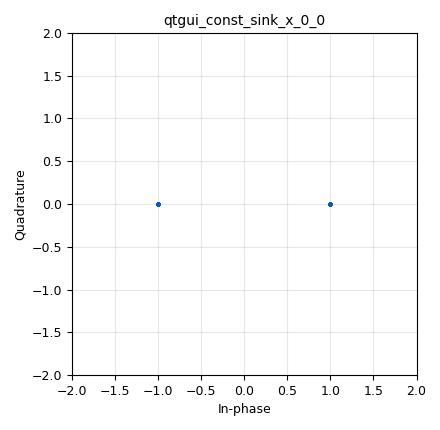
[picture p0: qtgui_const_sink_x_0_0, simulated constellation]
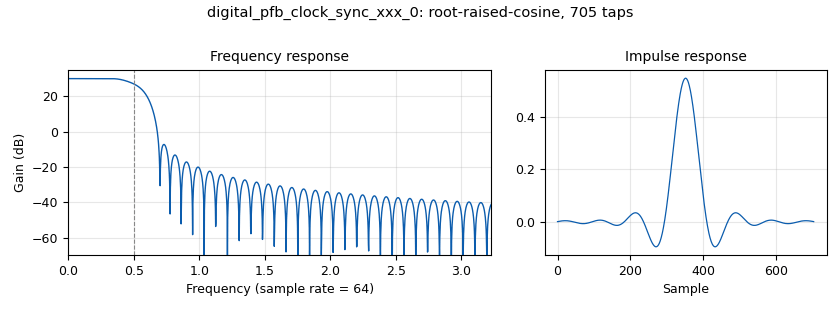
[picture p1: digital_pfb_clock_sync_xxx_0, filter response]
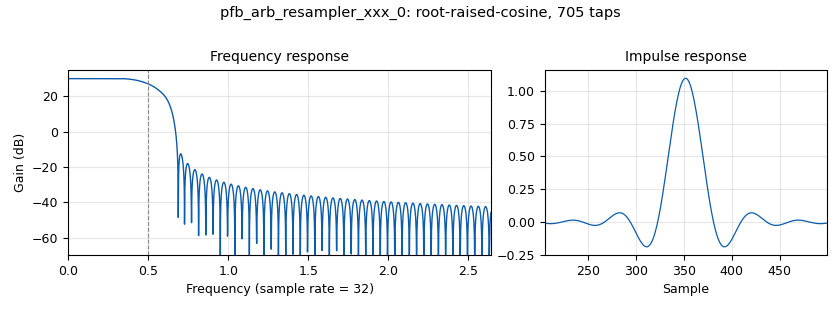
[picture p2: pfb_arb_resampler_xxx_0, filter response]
<?xml version='1.0' encoding='utf-8'?>
<?grc format='1' created='3.7.12'?>
<flow_graph>
<block>
<key>options</key>
<param><key>id</key><value>MPSK_TX_RX</value></param>
<param><key>author</key><value>Rafik Zitouni</value></param>
<param><key>generate_options</key><value>qt_gui</value></param>
<param><key>title</key><value>MPSK TX RX</value></param>
</block>
<block>
<key>variable_qtgui_label</key>
<param><key>id</key><value>BER</value></param>
<param><key>value</key><value>(1.0-probe_BER )/3.0</value></param>
<param><key>_enabled</key><value>0</value></param>
<param><key>gui_hint</key><value>5,1,1,1</value></param>
<param><key>type</key><value>real</value></param>
</block>
<block>
<key>variable_qtgui_label</key>
<param><key>id</key><value>Freq_Offset</value></param>
<param><key>value</key><value>probe_SNR</value></param>
<param><key>_enabled</key><value>0</value></param>
<param><key>gui_hint</key><value>5,1,1,1</value></param>
<param><key>type</key><value>real</value></param>
</block>
<block>
<key>variable_qtgui_label</key>
<param><key>id</key><value>SNR</value></param>
<param><key>value</key><value>probe_SNR</value></param>
<param><key>type</key><value>real</value></param>
</block>
<block>
<key>variable_qtgui_range</key>
<param><key>id</key><value>ampl</value></param>
<param><key>value</key><value>0.7</value></param>
<param><key>gui_hint</key><value>2,0,1,1</value></param>
<param><key>label</key><value>Amplitude</value></param>
<param><key>orient</key><value>Qt.Horizontal</value></param>
<param><key>start</key><value>0</value></param>
<param><key>step</key><value>0.01</value></param>
<param><key>stop</key><value>1</value></param>
</block>
<block>
<key>variable</key>
<param><key>id</key><value>arrity</value></param>
<param><key>value</key><value>pow(2, bits_per_symbol)</value></param>
</block>
<block>
<key>variable</key>
<param><key>id</key><value>arrity_0</value></param>
<param><key>value</key><value>pow(2,bits_per_symbol)</value></param>
</block>
<block>
<key>variable</key>
<param><key>id</key><value>bitrate</value></param>
<param><key>value</key><value>32e3</value></param>
</block>
<block>
<key>variable</key>
<param><key>id</key><value>bits_per_symbol</value></param>
<param><key>value</key><value>1</value></param>
</block>
<block>
<key>variable</key>
<param><key>id</key><value>const_type</value></param>
<param><key>value</key><value>0</value></param>
</block>
<block>
<key>variable</key>
<param><key>id</key><value>constellation</value></param>
<param><key>value</key><value>(digital.constellation_bpsk(), digital.constellation_qpsk(), digital.constellation_8psk())</value></param>
</block>
<block>
<key>variable</key>
<param><key>id</key><value>excess_bw</value></param>
<param><key>value</key><value>0.35</value></param>
</block>
<block>
<key>variable</key>
<param><key>id</key><value>excess_bw_0</value></param>
<param><key>value</key><value>0.35</value></param>
</block>
<block>
<key>variable</key>
<param><key>id</key><value>fll_ntaps</value></param>
<param><key>value</key><value>55</value></param>
</block>
<block>
<key>variable</key>
<param><key>id</key><value>freq_bw</value></param>
<param><key>value</key><value>2*math.pi/100.0</value></param>
</block>
<block>
<key>variable_qtgui_range</key>
<param><key>id</key><value>freq_rx</value></param>
<param><key>value</key><value>2390e6</value></param>
<param><key>gui_hint</key><value>0,1,1,1</value></param>
<param><key>label</key><value>UHD Rx Freq (Hz)</value></param>
<param><key>orient</key><value>Qt.Horizontal</value></param>
<param><key>start</key><value>2350e6</value></param>
<param><key>step</key><value>10e6</value></param>
<param><key>stop</key><value>2500e6</value></param>
</block>
<block>
<key>variable_qtgui_range</key>
<param><key>id</key><value>gain_rx</value></param>
<param><key>value</key><value>0.75</value></param>
<param><key>gui_hint</key><value>1,1,1,1</value></param>
<param><key>label</key><value>UHD Rx Gain</value></param>
<param><key>orient</key><value>Qt.Horizontal</value></param>
<param><key>start</key><value>0</value></param>
<param><key>step</key><value>0.01</value></param>
<param><key>stop</key><value>1</value></param>
</block>
<block>
<key>variable_qtgui_chooser</key>
<param><key>id</key><value>lo_offset</value></param>
<param><key>value</key><value>6e6</value></param>
<param><key>gui_hint</key><value>2,1,1,1</value></param>
<param><key>num_opts</key><value>3</value></param>
<param><key>option0</key><value>0</value></param>
<param><key>option1</key><value>6e6</value></param>
<param><key>option2</key><value>11e6</value></param>
<param><key>type</key><value>real</value></param>
</block>
<block>
<key>variable</key>
<param><key>id</key><value>nfilts</value></param>
<param><key>value</key><value>32</value></param>
</block>
<block>
<key>variable</key>
<param><key>id</key><value>nfilts_0</value></param>
<param><key>value</key><value>32</value></param>
</block>
<block>
<key>variable</key>
<param><key>id</key><value>ntaps</value></param>
<param><key>value</key><value>11 * int(samples_per_symbol*nfilts)</value></param>
</block>
<block>
<key>variable</key>
<param><key>id</key><value>ntaps_0</value></param>
<param><key>value</key><value>nfilts*11*int(samples_per_symbol)</value></param>
</block>
<block>
<key>variable</key>
<param><key>id</key><value>phase_bw</value></param>
<param><key>value</key><value>2*math.pi/100.0</value></param>
</block>
<block>
<key>variable</key>
<param><key>id</key><value>pre_diff_code</value></param>
<param><key>value</key><value>True</value></param>
</block>
<block>
<key>variable_function_probe</key>
<param><key>id</key><value>probe_BER</value></param>
<param><key>block_id</key><value>digital_probe_density_b_0</value></param>
<param><key>_enabled</key><value>0</value></param>
<param><key>function_name</key><value>density</value></param>
<param><key>value</key><value>0</value></param>
<param><key>poll_rate</key><value>10</value></param>
</block>
<block>
<key>variable_function_probe</key>
<param><key>id</key><value>probe_SNR</value></param>
<param><key>block_id</key><value>digital_probe_mpsk_snr_est_c_0</value></param>
<param><key>function_name</key><value>snr</value></param>
<param><key>value</key><value>0</value></param>
<param><key>poll_rate</key><value>10</value></param>
</block>
<block>
<key>variable_function_probe</key>
<param><key>id</key><value>probe_SNR_0</value></param>
<param><key>block_id</key><value>digital_probe_mpsk_snr_est_c_0</value></param>
<param><key>_enabled</key><value>0</value></param>
<param><key>function_name</key><value>snr</value></param>
<param><key>value</key><value>0</value></param>
<param><key>poll_rate</key><value>10</value></param>
</block>
<block>
<key>variable</key>
<param><key>id</key><value>samp_rate</value></param>
<param><key>value</key><value>samples_per_symbol*bitrate</value></param>
</block>
<block>
<key>variable</key>
<param><key>id</key><value>samples_per_symbol</value></param>
<param><key>value</key><value>2</value></param>
</block>
<block>
<key>variable</key>
<param><key>id</key><value>timing_bw</value></param>
<param><key>value</key><value>2*math.pi/100.0</value></param>
</block>
<block>
<key>variable_qtgui_range</key>
<param><key>id</key><value>tun_freq_tx</value></param>
<param><key>value</key><value>2.39e9</value></param>
<param><key>gui_hint</key><value>0,0,1,1</value></param>
<param><key>label</key><value>UHD Tx Freq (Hz)</value></param>
<param><key>orient</key><value>Qt.Horizontal</value></param>
<param><key>start</key><value>2.3e9</value></param>
<param><key>step</key><value>1</value></param>
<param><key>stop</key><value>2.5e9</value></param>
</block>
<block>
<key>variable_qtgui_range</key>
<param><key>id</key><value>tun_gain_tx</value></param>
<param><key>value</key><value>40</value></param>
<param><key>gui_hint</key><value>1,0,1,1</value></param>
<param><key>label</key><value>UHD Tx Gain</value></param>
<param><key>orient</key><value>Qt.Horizontal</value></param>
<param><key>start</key><value>0</value></param>
<param><key>step</key><value>1</value></param>
<param><key>stop</key><value>80</value></param>
</block>
<block>
<key>qtgui_number_sink</key>
<param><key>id</key><value>MeasureBER</value></param>
<param><key>graph_type</key><value>qtgui.NUM_GRAPH_HORIZ</value></param>
<param><key>type</key><value>float</value></param>
<param><key>color1</key><value>("blue", "red")</value></param>
<param><key>min</key><value>0</value></param>
<param><key>name</key><value>"BER"</value></param>
<param><key>update_time</key><value>0.05</value></param>
</block>
<block>
<key>parameter</key>
<param><key>id</key><value>address</value></param>
<param><key>label</key><value>IP Address</value></param>
<param><key>short_id</key><value>a</value></param>
<param><key>type</key><value>string</value></param>
<param><key>value</key><value>serial=30AD34D</value></param>
</block>
<block>
<key>analog_agc2_xx</key>
<param><key>id</key><value>analog_agc2_xx_0</value></param>
<param><key>attack_rate</key><value>0.6e-1</value></param>
<param><key>decay_rate</key><value>1e-3</value></param>
<param><key>gain</key><value>1.0</value></param>
<param><key>max_gain</key><value>65536</value></param>
<param><key>reference</key><value>1.0</value></param>
<param><key>type</key><value>complex</value></param>
</block>
<block>
<key>blks2_error_rate</key>
<param><key>id</key><value>blks2_error_rate_0</value></param>
<param><key>bits_per_symbol</key><value>1</value></param>
<param><key>type</key><value>'BER'</value></param>
<param><key>win_size</key><value>1000</value></param>
</block>
<block>
<key>blocks_multiply_const_vxx</key>
<param><key>id</key><value>blocks_multiply_const_vxx_0</value></param>
<param><key>const</key><value>ampl</value></param>
<param><key>type</key><value>complex</value></param>
</block>
<block>
<key>blocks_packed_to_unpacked_xx</key>
<param><key>id</key><value>blocks_packed_to_unpacked_xx_0</value></param>
<param><key>bits_per_chunk</key><value>1</value></param>
<param><key>endianness</key><value>gr.GR_MSB_FIRST</value></param>
<param><key>type</key><value>byte</value></param>
</block>
<block>
<key>blocks_unpack_k_bits_bb</key>
<param><key>id</key><value>blocks_unpack_k_bits_bb_0</value></param>
<param><key>k</key><value>bits_per_symbol</value></param>
</block>
<block>
<key>blocks_unpacked_to_packed_xx</key>
<param><key>id</key><value>blocks_unpacked_to_packed_xx_0</value></param>
<param><key>bits_per_chunk</key><value>1</value></param>
<param><key>endianness</key><value>gr.GR_MSB_FIRST</value></param>
<param><key>type</key><value>byte</value></param>
</block>
<block>
<key>blocks_vector_source_x</key>
<param><key>id</key><value>blocks_vector_source_x_0</value></param>
<param><key>type</key><value>byte</value></param>
<param><key>repeat</key><value>True</value></param>
<param><key>vector</key><value>[1,]</value></param>
</block>
<block>
<key>blocks_vector_source_x</key>
<param><key>id</key><value>blocks_vector_source_x_0_0</value></param>
<param><key>type</key><value>byte</value></param>
<param><key>repeat</key><value>True</value></param>
<param><key>vector</key><value>[1,]</value></param>
</block>
<block>
<key>digital_chunks_to_symbols_xx</key>
<param><key>id</key><value>digital_chunks_to_symbols_xx_0</value></param>
<param><key>dimension</key><value>1</value></param>
<param><key>in_type</key><value>byte</value></param>
<param><key>out_type</key><value>complex</value></param>
<param><key>symbol_table</key><value>constellation[const_type].points()</value></param>
</block>
<block>
<key>digital_constellation_receiver_cb</key>
<param><key>id</key><value>digital_constellation_receiver_cb_0</value></param>
<param><key>constellation</key><value>digital.bpsk_constellation().base()</value></param>
<param><key>loop_bw</key><value>phase_bw</value></param>
<param><key>fmax</key><value>0.25</value></param>
<param><key>fmin</key><value>0.25</value></param>
<param><key>showports</key><value>True</value></param>
</block>
<block>
<key>digital_costas_loop_cc</key>
<param><key>id</key><value>digital_costas_loop_cc_0</value></param>
<param><key>w</key><value>timing_bw</value></param>
<param><key>order</key><value>2</value></param>
</block>
<block>
<key>digital_descrambler_bb</key>
<param><key>id</key><value>digital_descrambler_bb_0</value></param>
<param><key>len</key><value>7</value></param>
<param><key>mask</key><value>0x8A</value></param>
<param><key>seed</key><value>0x7F</value></param>
</block>
<block>
<key>digital_diff_decoder_bb</key>
<param><key>id</key><value>digital_diff_decoder_bb_0</value></param>
<param><key>modulus</key><value>arrity</value></param>
</block>
<block>
<key>digital_diff_encoder_bb</key>
<param><key>id</key><value>digital_diff_encoder_bb_0</value></param>
<param><key>modulus</key><value>arrity</value></param>
</block>
<block>
<key>digital_fll_band_edge_cc</key>
<param><key>id</key><value>digital_fll_band_edge_cc_0</value></param>
<param><key>rolloff</key><value>excess_bw</value></param>
<param><key>w</key><value>freq_bw</value></param>
<param><key>filter_size</key><value>fll_ntaps</value></param>
<param><key>samps_per_sym</key><value>samples_per_symbol</value></param>
<param><key>type</key><value>cc</value></param>
</block>
<block>
<key>digital_pfb_clock_sync_xxx</key>
<param><key>id</key><value>digital_pfb_clock_sync_xxx_0</value></param>
<param><key>filter_size</key><value>nfilts</value></param>
<param><key>init_phase</key><value> nfilts//2</value></param>
<param><key>loop_bw</key><value>timing_bw</value></param>
<param><key>max_dev</key><value>1.5</value></param>
<param><key>osps</key><value>1</value></param>
<param><key>sps</key><value>samples_per_symbol</value></param>
<param><key>taps</key><value>firdes.root_raised_cosine(nfilts, nfilts*samples_per_symbol, 1.0,  0.35, ntaps)</value></param>
<param><key>type</key><value>ccf</value></param>
</block>
<block>
<key>digital_probe_mpsk_snr_est_c</key>
<param><key>id</key><value>digital_probe_mpsk_snr_est_c_0</value></param>
<param><key>alpha</key><value>10/bitrate</value></param>
<param><key>msg_nsamples</key><value>1000</value></param>
<param><key>type</key><value>2</value></param>
</block>
<block>
<key>digital_scrambler_bb</key>
<param><key>id</key><value>digital_scrambler_bb_0</value></param>
<param><key>len</key><value>7</value></param>
<param><key>mask</key><value>0x8A</value></param>
<param><key>seed</key><value>0x7F</value></param>
</block>
<block>
<key>import</key>
<param><key>id</key><value>import_0</value></param>
<param><key>import</key><value>import math</value></param>
</block>
<block>
<key>pfb_arb_resampler_xxx</key>
<param><key>id</key><value>pfb_arb_resampler_xxx_0</value></param>
<param><key>nfilts</key><value>nfilts</value></param>
<param><key>rrate</key><value>samples_per_symbol</value></param>
<param><key>atten</key><value>100</value></param>
<param><key>taps</key><value>firdes.root_raised_cosine(nfilts, nfilts, 1.0,  0.35, ntaps)</value></param>
<param><key>type</key><value>ccf</value></param>
</block>
<block>
<key>qtgui_const_sink_x</key>
<param><key>id</key><value>qtgui_const_sink_x_0</value></param>
<param><key>gui_hint</key><value>3,1,1,1</value></param>
<param><key>size</key><value>1024</value></param>
<param><key>type</key><value>complex</value></param>
</block>
<block>
<key>qtgui_const_sink_x</key>
<param><key>id</key><value>qtgui_const_sink_x_0_0</value></param>
<param><key>gui_hint</key><value>3,0,1,1</value></param>
<param><key>size</key><value>1024</value></param>
<param><key>type</key><value>complex</value></param>
</block>
<block>
<key>qtgui_freq_sink_x</key>
<param><key>id</key><value>qtgui_freq_sink_x_0</value></param>
<param><key>bw</key><value>samp_rate</value></param>
<param><key>fc</key><value>tun_freq_tx</value></param>
<param><key>_enabled</key><value>0</value></param>
<param><key>fftsize</key><value>1024</value></param>
<param><key>gui_hint</key><value>3,0,1,1</value></param>
<param><key>showports</key><value>True</value></param>
<param><key>type</key><value>complex</value></param>
<param><key>wintype</key><value>firdes.WIN_BLACKMAN_hARRIS</value></param>
</block>
<block>
<key>uhd_usrp_sink</key>
<param><key>id</key><value>uhd_usrp_sink_0_0</value></param>
<param><key>ant0</key><value>TX/RX</value></param>
<param><key>center_freq0</key><value>tun_freq_tx</value></param>
<param><key>norm_gain0</key><value>False</value></param>
<param><key>gain0</key><value>tun_gain_tx</value></param>
<param><key>clock_rate</key><value>30.72e6</value></param>
<param><key>dev_addr</key><value>address</value></param>
<param><key>dev_args</key><value>""</value></param>
<param><key>type</key><value>fc32</value></param>
<param><key>sd_spec0</key><value>A:B</value></param>
<param><key>samp_rate</key><value>samp_rate</value></param>
<param><key>hide_cmd_port</key><value>False</value></param>
<param><key>hide_lo_controls</key><value>True</value></param>
<param><key>sync</key><value></value></param>
<param><key>len_tag_name</key><value></value></param>
</block>
<block>
<key>uhd_usrp_source</key>
<param><key>id</key><value>uhd_usrp_source_0</value></param>
<param><key>ant0</key><value>TX/RX</value></param>
<param><key>center_freq0</key><value>uhd.tune_request(freq_rx, rf_freq = freq_rx - lo_offset, rf_freq_policy=uhd.tune_request.POLICY_MANUAL)</value></param>
<param><key>dc_offs_enb0</key><value>""</value></param>
<param><key>iq_imbal_enb0</key><value>""</value></param>
<param><key>norm_gain0</key><value>True</value></param>
<param><key>gain0</key><value>gain_rx</value></param>
<param><key>clock_rate</key><value>30.72e6</value></param>
<param><key>dev_addr</key><value>address</value></param>
<param><key>dev_args</key><value>""</value></param>
<param><key>sd_spec0</key><value>A:A</value></param>
<param><key>type</key><value>fc32</value></param>
<param><key>samp_rate</key><value>samp_rate</value></param>
<param><key>hide_cmd_port</key><value>False</value></param>
<param><key>hide_lo_controls</key><value>True</value></param>
<param><key>sync</key><value></value></param>
</block>
<connection><source_block_id>analog_agc2_xx_0</source_block_id><sink_block_id>digital_fll_band_edge_cc_0</sink_block_id><source_key>0</source_key><sink_key>0</sink_key></connection>
<connection><source_block_id>blks2_error_rate_0</source_block_id><sink_block_id>MeasureBER</sink_block_id><source_key>0</source_key><sink_key>0</sink_key></connection>
<connection><source_block_id>blocks_multiply_const_vxx_0</source_block_id><sink_block_id>qtgui_freq_sink_x_0</sink_block_id><source_key>0</source_key><sink_key>0</sink_key></connection>
<connection><source_block_id>blocks_multiply_const_vxx_0</source_block_id><sink_block_id>uhd_usrp_sink_0_0</sink_block_id><source_key>0</source_key><sink_key>0</sink_key></connection>
<connection><source_block_id>blocks_packed_to_unpacked_xx_0</source_block_id><sink_block_id>digital_diff_encoder_bb_0</sink_block_id><source_key>0</source_key><sink_key>0</sink_key></connection>
<connection><source_block_id>blocks_unpack_k_bits_bb_0</source_block_id><sink_block_id>digital_descrambler_bb_0</sink_block_id><source_key>0</source_key><sink_key>0</sink_key></connection>
<connection><source_block_id>blocks_unpacked_to_packed_xx_0</source_block_id><sink_block_id>blocks_packed_to_unpacked_xx_0</sink_block_id><source_key>0</source_key><sink_key>0</sink_key></connection>
<connection><source_block_id>blocks_vector_source_x_0</source_block_id><sink_block_id>digital_scrambler_bb_0</sink_block_id><source_key>0</source_key><sink_key>0</sink_key></connection>
<connection><source_block_id>blocks_vector_source_x_0_0</source_block_id><sink_block_id>blks2_error_rate_0</sink_block_id><source_key>0</source_key><sink_key>0</sink_key></connection>
<connection><source_block_id>digital_chunks_to_symbols_xx_0</source_block_id><sink_block_id>pfb_arb_resampler_xxx_0</sink_block_id><source_key>0</source_key><sink_key>0</sink_key></connection>
<connection><source_block_id>digital_chunks_to_symbols_xx_0</source_block_id><sink_block_id>qtgui_const_sink_x_0_0</sink_block_id><source_key>0</source_key><sink_key>0</sink_key></connection>
<connection><source_block_id>digital_constellation_receiver_cb_0</source_block_id><sink_block_id>digital_diff_decoder_bb_0</sink_block_id><source_key>0</source_key><sink_key>0</sink_key></connection>
<connection><source_block_id>digital_costas_loop_cc_0</source_block_id><sink_block_id>digital_constellation_receiver_cb_0</sink_block_id><source_key>0</source_key><sink_key>0</sink_key></connection>
<connection><source_block_id>digital_costas_loop_cc_0</source_block_id><sink_block_id>qtgui_const_sink_x_0</sink_block_id><source_key>0</source_key><sink_key>0</sink_key></connection>
<connection><source_block_id>digital_descrambler_bb_0</source_block_id><sink_block_id>blks2_error_rate_0</sink_block_id><source_key>0</source_key><sink_key>1</sink_key></connection>
<connection><source_block_id>digital_diff_decoder_bb_0</source_block_id><sink_block_id>blocks_unpack_k_bits_bb_0</sink_block_id><source_key>0</source_key><sink_key>0</sink_key></connection>
<connection><source_block_id>digital_diff_encoder_bb_0</source_block_id><sink_block_id>digital_chunks_to_symbols_xx_0</sink_block_id><source_key>0</source_key><sink_key>0</sink_key></connection>
<connection><source_block_id>digital_fll_band_edge_cc_0</source_block_id><sink_block_id>digital_pfb_clock_sync_xxx_0</sink_block_id><source_key>0</source_key><sink_key>0</sink_key></connection>
<connection><source_block_id>digital_pfb_clock_sync_xxx_0</source_block_id><sink_block_id>digital_costas_loop_cc_0</sink_block_id><source_key>0</source_key><sink_key>0</sink_key></connection>
<connection><source_block_id>digital_pfb_clock_sync_xxx_0</source_block_id><sink_block_id>digital_probe_mpsk_snr_est_c_0</sink_block_id><source_key>0</source_key><sink_key>0</sink_key></connection>
<connection><source_block_id>digital_scrambler_bb_0</source_block_id><sink_block_id>blocks_unpacked_to_packed_xx_0</sink_block_id><source_key>0</source_key><sink_key>0</sink_key></connection>
<connection><source_block_id>pfb_arb_resampler_xxx_0</source_block_id><sink_block_id>blocks_multiply_const_vxx_0</sink_block_id><source_key>0</source_key><sink_key>0</sink_key></connection>
<connection><source_block_id>uhd_usrp_source_0</source_block_id><sink_block_id>analog_agc2_xx_0</sink_block_id><source_key>0</source_key><sink_key>0</sink_key></connection>
</flow_graph>
